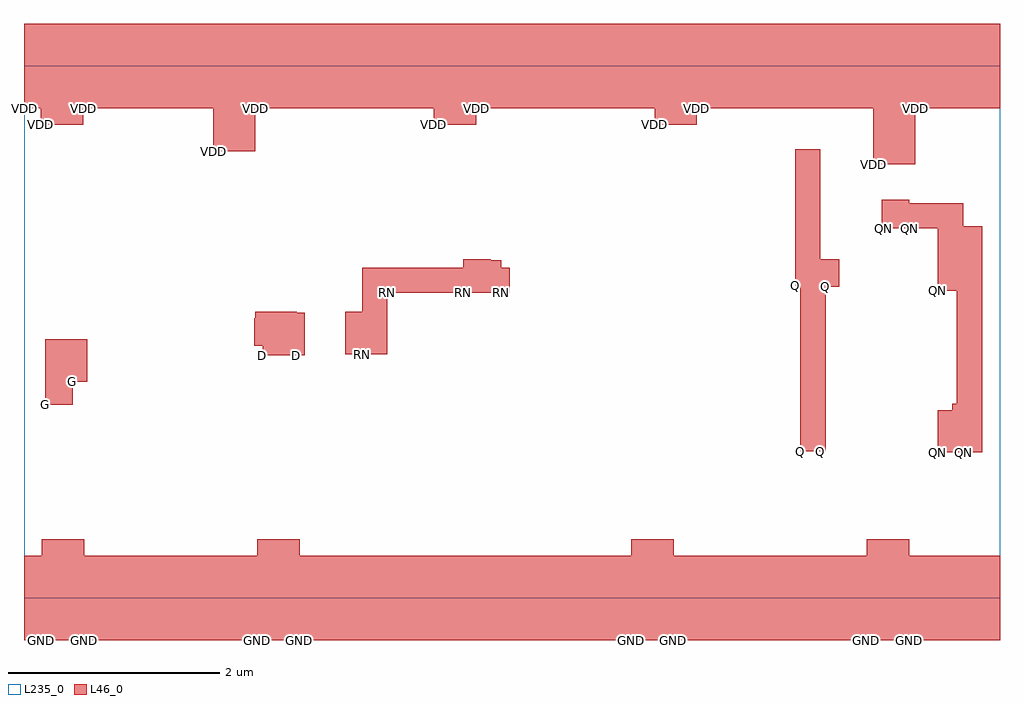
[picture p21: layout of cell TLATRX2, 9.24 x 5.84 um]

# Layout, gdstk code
import gdstk
lib = gdstk.Library(unit=1e-6, precision=1e-09)
def R(c, l, rs):  # rectangles x0, y0, x1, y1
    for r in rs: c.add(gdstk.rectangle(r[:2], r[2:], *l))
L46_0 = (46, 0)
L235_0 = (235, 0)

tlatrx2 = lib.new_cell('TLATRX2')
R(tlatrx2, L46_0, [(0,-0.4,0.17,0.4), (0.17,-0.4,0.57,0.56), (0.57,-0.4,2.21,0.4), (2.21,-0.4,2.61,0.56), (2.61,-0.4,5.75,0.4), (5.75,-0.4,6.15,0.56), (6.15,-0.4,7.98,0.4), (7.98,-0.4,8.38,0.56), (8.38,-0.4,9.24,0.4), (8.65,1.38,8.79,1.78), (8.79,1.38,8.83,1.84), (8.83,1.38,8.89,3.74), (8.89,1.38,9.07,3.52), (7.35,1.39,7.54,4.25), (7.54,1.39,7.59,3.21), (0.2,1.83,0.46,2.45), (0.46,2.05,0.6,2.45), (2.26,2.3,2.58,2.71), (2.58,2.3,2.66,2.7), (3.04,2.31,3.2,2.71), (3.2,2.31,3.44,3.13), (2.18,2.39,2.19,2.65), (2.19,2.39,2.26,2.71), (3.44,2.89,4.16,3.13), (4.16,2.89,4.42,3.21), (4.42,2.89,4.52,3.2), (4.52,2.89,4.6,3.13), (8.65,2.91,8.83,3.74), (7.59,2.95,7.72,3.21), (7.3,2.96,7.35,4.25), (8.14,3.5,8.38,3.77), (8.38,3.5,8.65,3.74), (8.12,3.51,8.14,3.77), (8.04,4.11,8.44,5.44), (1.79,4.23,2.19,5.44), (0.16,4.48,0.56,5.44), (3.88,4.48,4.28,5.44), (5.97,4.48,6.37,5.44), (0,4.64,0.16,5.44), (0.56,4.64,1.79,5.44), (2.19,4.64,3.88,5.44), (4.28,4.64,5.97,5.44), (6.37,4.64,8.04,5.44), (8.44,4.64,9.24,5.44)])
R(tlatrx2, L235_0, [(0,0,9.24,5.04)])
tlatrx2.add(gdstk.Label('RN', (4.52,2.89), layer=101, texttype=0))
tlatrx2.add(gdstk.Label('RN', (4.42,2.89), layer=101, texttype=0))
tlatrx2.add(gdstk.Label('RN', (4.16,2.89), layer=101, texttype=0))
tlatrx2.add(gdstk.Label('RN', (3.44,2.89), layer=101, texttype=0))
tlatrx2.add(gdstk.Label('RN', (3.2,2.31), layer=101, texttype=0))
tlatrx2.add(gdstk.Label('RN', (3.04,2.31), layer=101, texttype=0))
tlatrx2.add(gdstk.Label('QN', (8.89,1.38), layer=101, texttype=0))
tlatrx2.add(gdstk.Label('QN', (8.83,1.38), layer=101, texttype=0))
tlatrx2.add(gdstk.Label('QN', (8.79,1.38), layer=101, texttype=0))
tlatrx2.add(gdstk.Label('QN', (8.65,2.91), layer=101, texttype=0))
tlatrx2.add(gdstk.Label('QN', (8.65,1.38), layer=101, texttype=0))
tlatrx2.add(gdstk.Label('QN', (8.38,3.5), layer=101, texttype=0))
tlatrx2.add(gdstk.Label('QN', (8.14,3.5), layer=101, texttype=0))
tlatrx2.add(gdstk.Label('QN', (8.12,3.51), layer=101, texttype=0))
tlatrx2.add(gdstk.Label('Q', (7.59,2.95), layer=101, texttype=0))
tlatrx2.add(gdstk.Label('Q', (7.54,1.39), layer=101, texttype=0))
tlatrx2.add(gdstk.Label('Q', (7.35,1.39), layer=101, texttype=0))
tlatrx2.add(gdstk.Label('Q', (7.3,2.96), layer=101, texttype=0))
tlatrx2.add(gdstk.Label('G', (0.46,2.05), layer=101, texttype=0))
tlatrx2.add(gdstk.Label('G', (0.2,1.83), layer=101, texttype=0))
tlatrx2.add(gdstk.Label('D', (2.58,2.3), layer=101, texttype=0))
tlatrx2.add(gdstk.Label('D', (2.26,2.3), layer=101, texttype=0))
tlatrx2.add(gdstk.Label('D', (2.19,2.39), layer=101, texttype=0))
tlatrx2.add(gdstk.Label('D', (2.18,2.39), layer=101, texttype=0))
tlatrx2.add(gdstk.Label('VDD', (8.44,4.64), layer=101, texttype=0))
tlatrx2.add(gdstk.Label('VDD', (8.04,4.11), layer=101, texttype=0))
tlatrx2.add(gdstk.Label('VDD', (6.37,4.64), layer=101, texttype=0))
tlatrx2.add(gdstk.Label('VDD', (5.97,4.48), layer=101, texttype=0))
tlatrx2.add(gdstk.Label('VDD', (4.28,4.64), layer=101, texttype=0))
tlatrx2.add(gdstk.Label('VDD', (3.88,4.48), layer=101, texttype=0))
tlatrx2.add(gdstk.Label('VDD', (2.19,4.64), layer=101, texttype=0))
tlatrx2.add(gdstk.Label('VDD', (1.79,4.23), layer=101, texttype=0))
tlatrx2.add(gdstk.Label('VDD', (0.56,4.64), layer=101, texttype=0))
tlatrx2.add(gdstk.Label('VDD', (0.16,4.48), layer=101, texttype=0))
tlatrx2.add(gdstk.Label('VDD', (0,4.64), layer=101, texttype=0))
tlatrx2.add(gdstk.Label('GND', (8.38,-0.4), layer=101, texttype=0))
tlatrx2.add(gdstk.Label('GND', (7.98,-0.4), layer=101, texttype=0))
tlatrx2.add(gdstk.Label('GND', (6.15,-0.4), layer=101, texttype=0))
tlatrx2.add(gdstk.Label('GND', (5.75,-0.4), layer=101, texttype=0))
tlatrx2.add(gdstk.Label('GND', (2.61,-0.4), layer=101, texttype=0))
tlatrx2.add(gdstk.Label('GND', (2.21,-0.4), layer=101, texttype=0))
tlatrx2.add(gdstk.Label('GND', (0.57,-0.4), layer=101, texttype=0))
tlatrx2.add(gdstk.Label('GND', (0.17,-0.4), layer=101, texttype=0))
tlatrx2.add(gdstk.Label('GND', (0,-0.4), layer=101, texttype=0))

lib.write_gds('TLATRX2.gds')
